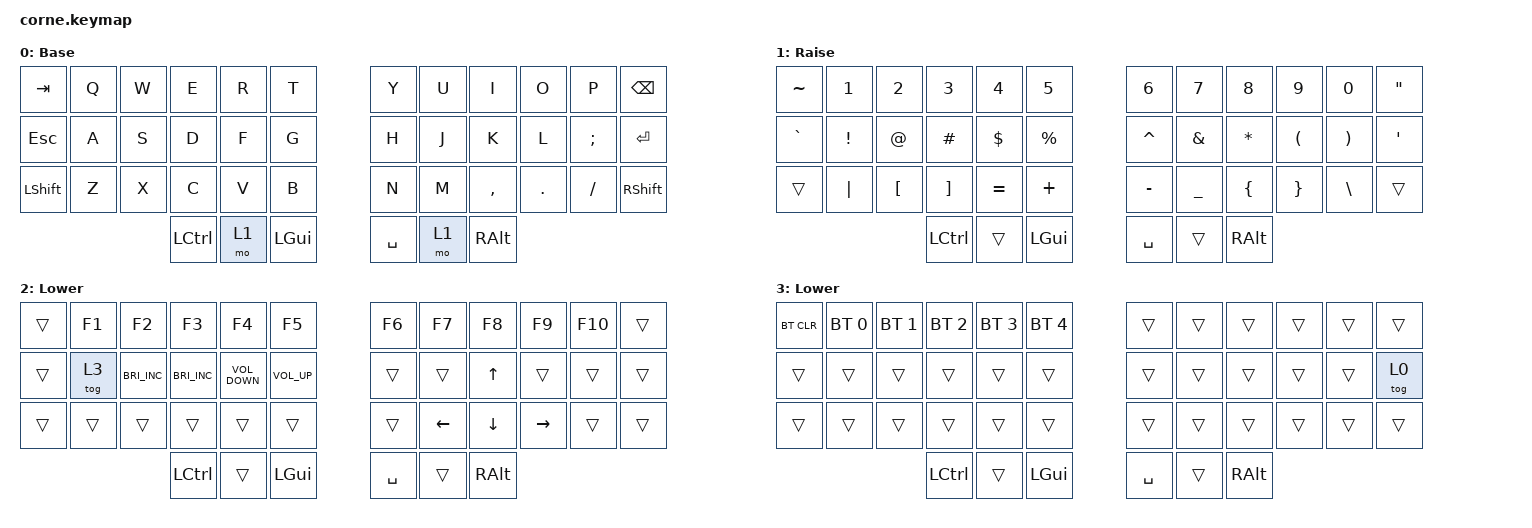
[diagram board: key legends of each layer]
/*
 * Copyright (c) 2020 The ZMK Contributors
 *
 * SPDX-License-Identifier: MIT
 */

#include <behaviors.dtsi>
#include <dt-bindings/zmk/bt.h>
#include <dt-bindings/zmk/keys.h>

/ {
    combos {
        compatible = "zmk,combos";

        lower {
            bindings = <&mo 2>;
            key-positions = <37 40>;
        };
    };

    keymap {
        compatible = "zmk,keymap";

        default_layer {
            // -----------------------------------------------------------------------------------------
            // |  TAB |  Q  |  W  |  E  |  R  |  T  |   |  Y  |  U   |  I  |  O  |  P  | BKSP |
            // | CTRL |  A  |  S  |  D  |  F  |  G  |   |  H  |  J   |  K  |  L  |  ;  |  '   |
            // | SHFT |  Z  |  X  |  C  |  V  |  B  |   |  N  |  M   |  ,  |  .  |  /  | ESC  |
            //                    | GUI | LWR | SPC |   | ENT | RSE  | ALT |

            display-name = "Base";
            bindings = <
&kp TAB     &kp Q  &kp W  &kp E      &kp R  &kp T       &kp Y      &kp U  &kp I      &kp O    &kp P     &kp BSPC
&kp ESCAPE  &kp A  &kp S  &kp D      &kp F  &kp G       &kp H      &kp J  &kp K      &kp L    &kp SEMI  &kp ENTER
&kp LSHFT   &kp Z  &kp X  &kp C      &kp V  &kp B       &kp N      &kp M  &kp COMMA  &kp DOT  &kp FSLH  &kp RSHIFT
                          &kp LCTRL  &mo 1  &kp LGUI    &kp SPACE  &mo 1  &kp RALT
            >;
        };

        raise_layer {
            // -----------------------------------------------------------------------------------------
            // |  TAB |  !  |  @  |  #  |  $  |  %  |   |  ^  |  &  |  *  |  (  |  )  | BKSP |
            // | CTRL |     |     |     |     |     |   |  -  |  =  |  [  |  ]  |  \  |  `   |
            // | SHFT |     |     |     |     |     |   |  _  |  +  |  {  |  }  | "|" |  ~   |
            //                    | GUI |     | SPC |   | ENT |     | ALT |

            display-name = "Raise";
            bindings = <
&kp TILDE  &kp N1    &kp N2            &kp N3             &kp N4      &kp N5         &kp N6     &kp N7         &kp N8    &kp N9                &kp N0                 &kp DOUBLE_QUOTES
&kp GRAVE  &kp EXCL  &kp AT            &kp HASH           &kp DOLLAR  &kp PERCENT    &kp CARET  &kp AMPERSAND  &kp STAR  &kp LEFT_PARENTHESIS  &kp RIGHT_PARENTHESIS  &kp SQT
&trans     &kp PIPE  &kp LEFT_BRACKET  &kp RIGHT_BRACKET  &kp EQUAL   &kp PLUS       &kp MINUS  &kp UNDER      &kp LBRC  &kp RBRC              &kp BSLH               &trans
                                       &kp LCTRL          &trans      &kp LGUI       &kp SPACE  &trans         &kp RALT
            >;
        };

        lower_layer {
            // -----------------------------------------------------------------------------------------
            // |  TAB |  1  |  2  |  3  |  4  |  5  |   |  6  |  7  |  8  |  9  |  0  | BKSP |
            // | BTCLR| BT1 | BT2 | BT3 | BT4 | BT5 |   | LFT | DWN |  UP | RGT |     |      |
            // | SHFT |     |     |     |     |     |   |     |     |     |     |     |      |
            //                    | GUI |     | SPC |   | ENT |     | ALT |

            display-name = "Lower";
            bindings = <
&trans  &kp F1  &kp F2                &kp F3                &kp F4             &kp F5             &kp F6     &kp F7    &kp F8    &kp F9     &kp F10  &trans
&trans  &tog 3  &kp C_BRIGHTNESS_INC  &kp C_BRIGHTNESS_INC  &kp C_VOLUME_DOWN  &kp C_VOLUME_UP    &trans     &trans    &kp UP    &trans     &trans   &trans
&trans  &trans  &trans                &trans                &trans             &trans             &trans     &kp LEFT  &kp DOWN  &kp RIGHT  &trans   &trans
                                      &kp LCTRL             &trans             &kp LGUI           &kp SPACE  &trans    &kp RALT
            >;
        };

        bluetooth {
            display-name = "Lower";
            bindings = <
&bt BT_CLR  &bt BT_SEL 0  &bt BT_SEL 1  &bt BT_SEL 2  &bt BT_SEL 3  &bt BT_SEL 4    &trans     &trans  &trans    &trans  &trans  &trans
&trans      &trans        &trans        &trans        &trans        &trans          &trans     &trans  &trans    &trans  &trans  &tog 0
&trans      &trans        &trans        &trans        &trans        &trans          &trans     &trans  &trans    &trans  &trans  &trans
                                        &kp LCTRL     &trans        &kp LGUI        &kp SPACE  &trans  &kp RALT
            >;

            label = "Bluetooth";
        };
    };
};
